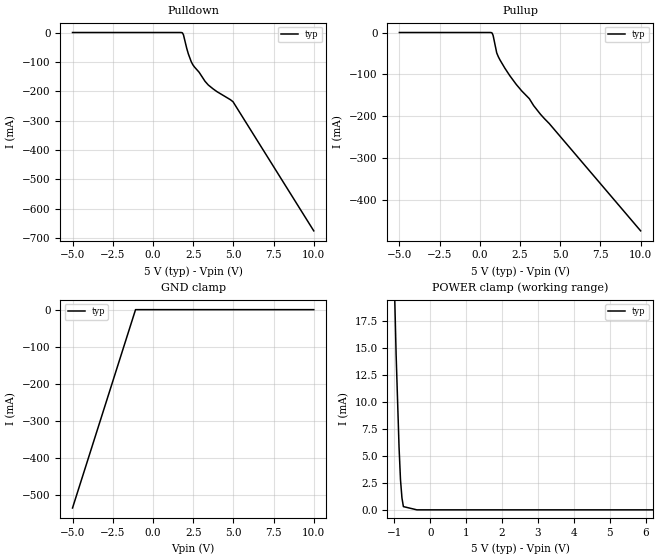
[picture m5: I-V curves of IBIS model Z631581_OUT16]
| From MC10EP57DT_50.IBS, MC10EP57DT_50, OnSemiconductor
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| (C) COPYRIGHT 1993-2000
| MENTOR GRAPHICS CORPORATION
| ICX STANDARD LIBRARY, ICX PROJECT MODELING,
| ICX CUSTOM MODELING, ICX VENDOR MODEL
| ALL RIGHTS RESERVED.
| THE FOLLOWING ARE TRADEMARKS OR SERVICE MARKS OF
| MENTOR GRAPHICS CORPORATION:ICX (R), ICX STANDARD
| LIBRARY(R), ICX PROJECT MODELING(R), ICX CUSTOM
| MODELING(R), qualityIBIS(TM), MODELVIEWER(TM),
| AND MODELEDITOR(TM)
| ALL COPIES OF SOFTWARE, INCLUDING BUT NOT LIMITED TO
| ANY MODIFICATIONS, ENHANCEMENTS OR DERIVATIVE WORKS,
| MUST CONTAIN ALL MENTOR GRAPHICS CORPORATION'S
| NOTICES AND LEGENDS, INCLUDING THOSE EMBEDDED IN
| SOFTWARE AND THOSE AFFIXED TO SOFTWARE MEDIUM
| AND CONTAINER, AS RECEIVED FROM MENTOR GRAPHICS
| CORPORATION.
| Model Application Version 1.89 2/18/99.
[Model] Z631581_OUT16
Model_type Output_ECL
Vref=3.000V
Rref=50.00ohms
Cref=0.000F
Vmeas=3.655V
C_comp 8.000pF NA NA
| variable typ   min   max
[Voltage Range] 5.000V NA NA
[POWER Clamp Reference] 5.000V NA NA
[Pullup Reference] 5.000V NA NA
[Pulldown Reference] 5.000V NA NA
[GND Clamp Reference] 0.000V NA NA
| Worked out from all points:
|   POWER clamp passes 1 mA (typ) near -0.79 V on its own axis
[GND Clamp]
-5V       -535.2mA   NA         NA
-1.081V   0A         NA         NA
10V       0A         NA         NA
[Pulldown]
-5V       0A         NA         NA
1.838V    -1.7mA     NA         NA
1.899V    -8mA       NA         NA
2.203V    -72.9mA    NA         NA
2.385V    -99.7mA    NA         NA
2.487V    -110.2mA   NA         NA
2.872V    -135.2mA   NA         NA
3.237V    -165.8mA   NA         NA
3.439V    -178.4mA   NA         NA
3.987V    -201.4mA   NA         NA
4.98V     -235.5mA   NA         NA
10V       -674.7mA   NA         NA
[Pullup]
-5V       0A         NA         NA
768mV     -1.5mA     NA         NA
830mV     -7.3mA     NA         NA
1.052V    -48.7mA    NA         NA
1.154V    -58mA      NA         NA
1.559V    -85.2mA    NA         NA
2.268V    -124mA     NA         NA
3.079V    -157.9mA   NA         NA
3.343V    -174.2mA   NA         NA
3.769V    -195mA     NA         NA
4.316V    -217.2mA   NA         NA
10V       -473.3mA   NA         NA
[POWER Clamp]
-5V       705.6mA    NA         NA
-1.036V   25.4mA     NA         NA
-955mV    14.4mA     NA         NA
-873mV    5.8mA      NA         NA
-833mV    2.8mA      NA         NA
-792mV    1.1mA      NA         NA
-752mV    300uA      NA         NA
-376mV    0A         NA         NA
10V       0A         NA         NA
[Ramp]
| variable typ min max
dV/dt_r 287.9m/106.6p NA NA
dV/dt_f 287.9m/96.90p NA NA
R_load = 50.00Ohms
